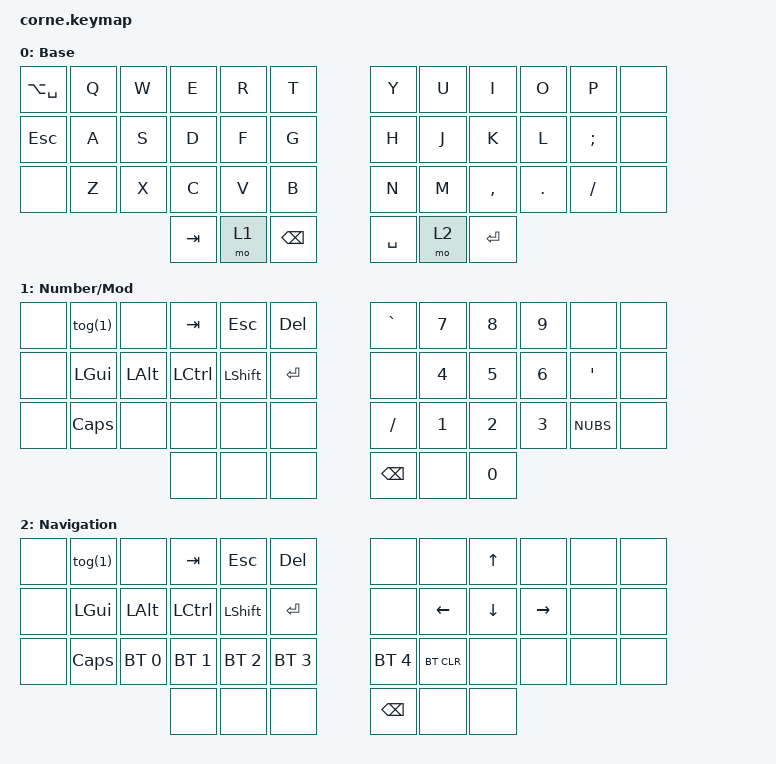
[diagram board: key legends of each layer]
#include <behaviors.dtsi>
#include <dt-bindings/zmk/keys.h>
#include <dt-bindings/zmk/bt.h>
/*
 * Corne 6-column key positions
 *
 * ,---+---+---+---+---+---.    ,---+---+---+---+---+---.
 * | 0 | 1 | 2 | 3 | 4 | 5 |    | 6 | 7 | 8 | 9 |10 |11 |
 * +---+---+---+---+---+---|    |---+---+---+---+---+---+
 * |12 |13 |14 |15 |16 |17 |    |18 |19 |20 |21 |22 |23 |
 * +---+---+---+---+---+---|    |---+---+---+---+---+---+
 * |24 |25 |26 |27 |28 |29 |    |30 |31 |32 |33 |34 |35 |
 * `---+---+---+---+---+---+    +---+---+---+---+---+---'
 *               |36 |37 |38 |    |39 |40 |41 |
 *               `---+---+---'    `---+---+---'
 *
*/
/ {
    combos {
        compatible = "zmk,combos";
        
        // --------------  Left Hand Mod Combos
        combo_gui_a {
            // Left Inner + a
            timeout-ms = <50>;
            key-positions = <38 13>;
            bindings = <&kp LGUI>;
        };
        combo_alt_s {
            // Left Inner + s
            timeout-ms = <50>;
            key-positions = <38 14>;
            bindings = <&kp LALT>;
        };
        combo_ctl_d {
            // Left Inner + d
            timeout-ms = <50>;
            key-positions = <38 15>;
            bindings = <&kp LCTRL>;
        };
        combo_sft_f {
            // Left Inner + f
            timeout-ms = <50>;
            key-positions = <38 16>;
            bindings = <&kp LSHFT>;
        };
        combo_ctrlshift_left {
            // Right Inner + ;
            timeout-ms = <50>;
            key-positions = <38 15 16>;
            bindings = <&kp LC(LSHFT)>;
        };

        // -------------- Right Hand Combos
        combo_sft_j {
            // Right Inner + J
            timeout-ms = <50>;
            key-positions = <39 19>;
            bindings = <&kp LSHFT>;
        };
        combo_ctl_k {
            // Right Inner + K
            timeout-ms = <50>;
            key-positions = <39 20>;
            bindings = <&kp LCTRL>;
        };
        combo_alt_l {
            // Right Inner + L
            timeout-ms = <50>;
            key-positions = <39 21>;
            bindings = <&kp LALT>;
        };
        combo_gui_semicolon {
            // Right Inner + ;
            timeout-ms = <50>;
            key-positions = <39 22>;
            bindings = <&kp LGUI>;
        };
        combo_ctrlshift_right {
            // Right Inner + ;
            timeout-ms = <50>;
            key-positions = <39 19 20>;
            bindings = <&kp LC(LSHFT)>;
        };
        
        // -------------- Left Hand hyprmods
        secondmod_left {
            // GUI + SHIFT
            timeout-ms = <50>;
            key-positions = <38 13 16>;
            bindings = <&kp LG(LSHFT)>;
        };
        thirdmod_left {
            // GUI + CTRL
            timeout-ms = <50>;
            key-positions = <38 13 15>;
            bindings = <&kp LG(LCTRL)>;
        };
        fourthmod_left {
            // GUI + ALT
            timeout-ms = <50>;
            key-positions = <38 13 14>;
            bindings = <&kp LG(LALT)>;
        };

        // -------------- Right Hand hyprmods
        secondmod_right {
            // GUI + SHIFT
            timeout-ms = <50>;
            key-positions = <39 22 19>;
            bindings = <&kp LG(LSHFT)>;
        };
        thirdmod_right {
            // GUI + CTRL
            timeout-ms = <50>;
            key-positions = <39 22 20>;
            bindings = <&kp LG(LCTRL)>;
        };
        fourthmod_right {
            // GUI + ALT
            timeout-ms = <50>;
            key-positions = <39 22 21>;
            bindings = <&kp LG(LALT)>;
        };
    };

    keymap {
        compatible = "zmk,keymap";

        default_layer {
            display-name = "Base";
            bindings = <
               &kp LA(SPACE) &kp Q &kp W &kp E &kp R &kp T      &kp Y &kp U  &kp I     &kp O   &kp P    &none
               &kp ESC &kp A &kp S &kp D &kp F &kp G            &kp H &kp J  &kp K     &kp L   &kp SEMI &none
               &none &kp Z &kp X &kp C &kp V &kp B              &kp N &kp M  &kp COMMA &kp DOT &kp FSLH &none
                                &kp TAB &mo 1 &kp BSPC     &kp SPACE &mo 2 &kp RET 
            >;
        };

        numpad_mod_layer {
            display-name = "Number/Mod";
            bindings = <
                &none &tog(1)  &none &kp TAB &kp ESC &kp DEL                &kp GRAVE &kp N7 &kp N8 &kp N9 &none  &none 
                &none &kp LGUI &kp LALT &kp LCTRL &kp LSHFT &kp RET         &none &kp N4 &kp N5 &kp N6 &kp APOS &none 
                &none &kp CAPS &none &none &none &none                      &kp SLASH &kp N1 &kp N2 &kp N3 &kp NUBS &none
                                                    &none &none &none  &kp BSPC &none &kp N0 
            >;
        };

        /*
        nav_layer {
            display-name = "Navigation";
            bindings = <
                &none &tog(1)  &none &kp TAB &kp ESC &kp DEL                &none &none &kp UP &none &none &none 
                &none &kp LGUI &kp LALT &kp LCTRL &kp LSHFT &kp RET         &none &kp LEFT &kp DOWN &kp RIGHT &none &none
                &none &kp CAPS &none &none &none &none                      &none &none &none &none &none &none
                                                    &none &none &none  &kp BSPC &none &none 
            >;
        };
        */

        nav_layer {
            display-name = "Navigation";
            bindings = <
                &none &tog(1)     &none      &kp TAB    &kp ESC   &kp DEL         &none       &none    &kp UP   &none     &none &none 
                &none &kp LGUI    &kp LALT   &kp LCTRL  &kp LSHFT &kp RET         &none       &kp LEFT &kp DOWN &kp RIGHT &none &none 
                &none &kp CAPS &bt BT_SEL 0 &bt BT_SEL 1 &bt BT_SEL 2 &bt BT_SEL 3            &bt BT_SEL 4   &bt BT_CLR &none &none &none &none
                                                        &none     &none     &none     &kp BSPC    &none    &none 
            >;
        };

        extra_3 {
            status = "reserved";
        };
    };
};
